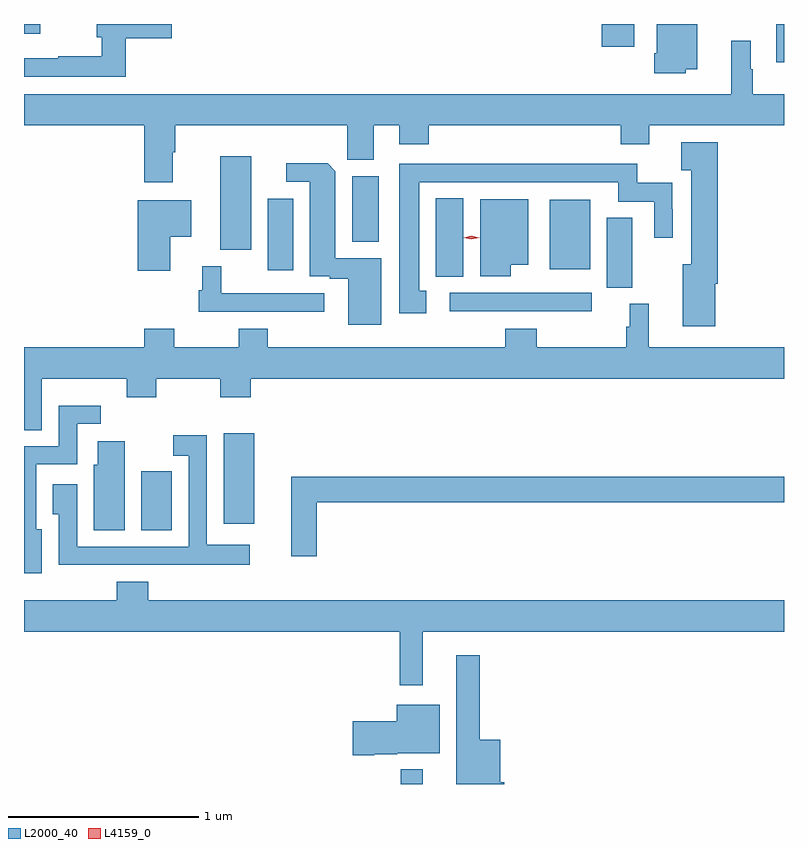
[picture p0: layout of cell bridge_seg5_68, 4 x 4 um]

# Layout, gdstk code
import gdstk
lib = gdstk.Library(unit=1e-6, precision=1e-09)
def R(c, l, rs):  # rectangles x0, y0, x1, y1
    for r in rs: c.add(gdstk.rectangle(r[:2], r[2:], *l))
def P(c, l, *ps):  # polygons
    for p in ps: c.add(gdstk.Polygon(p, *l))
L2000_40 = (2000, 40)
L4159_0 = (4159, 0)

bridge_seg5_68 = lib.new_cell('bridge_seg5_68')
R(bridge_seg5_68, L2000_40, [(263.287,909.238,263.401,909.316), (261.92,910.573,262.081,910.884), (262.355,910.608,262.516,911.083), (263.544,911.727,264.292,911.823), (264.371,911.851,264.505,912.217), (263.471,911.908,263.614,912.32), (262.586,911.943,262.72,912.319), (264.071,911.948,264.283,912.313), (262.337,912.051,262.498,912.541), (263.03,912.091,263.17,912.438), (265.262,913.038,265.303,913.238), (264.344,913.119,264.514,913.238), (261.303,913.188,261.388,913.238)])
P(bridge_seg5_68, L2000_40, [(261.839,913.162),(262.081,913.162),(262.081,913.238),(261.685,913.238),(261.685,913.169),(261.711,913.169),(261.711,913.069),(261.484,913.069),(261.484,913.057),(261.303,913.057),(261.303,912.96),(261.839,912.96)],
  [(264.786,913.001),(264.847,913.001),(264.847,913.238),(264.632,913.238),(264.632,913.084),(264.62,913.084),(264.62,912.98),(264.786,912.98)],
  [(262.087,912.563),(262.1,912.563),(262.1,912.704),(263.005,912.704),(263.005,912.523),(263.143,912.523),(263.143,912.704),(263.279,912.704),(263.279,912.605),(263.432,912.605),(263.432,912.704),(264.443,912.704),(264.443,912.605),(264.595,912.605),(264.595,912.704),(265.303,912.704),(265.303,912.868),(265.139,912.868),(265.139,913.001),(265.129,913.001),(265.129,913.15),(265.025,913.15),(265.025,912.868),(261.303,912.868),(261.303,912.704),(261.935,912.704),(261.935,912.405),(262.087,912.405)],
  [(264.94,911.87),(264.953,911.87),(264.953,912.616),(264.762,912.616),(264.762,912.468),(264.815,912.468),(264.815,911.974),(264.77,911.974),(264.77,911.648),(264.94,911.648)],
  [(263.182,912.006),(262.942,912.006),(262.942,912.464),(262.901,912.506),(262.683,912.506),(262.683,912.408),(262.808,912.408),(262.808,911.91),(262.913,911.91),(262.913,911.898),(263.009,911.898),(263.009,911.655),(263.182,911.655)],
  [(263.419,911.835),(263.383,911.835),(263.383,912.405),(264.431,912.405),(264.431,912.302),(264.621,912.302),(264.621,912.114),(264.717,912.114),(264.717,912.264),(264.714,912.264),(264.714,912.402),(264.531,912.402),(264.531,912.503),(263.279,912.503),(263.279,911.715),(263.419,911.715)],
  [(263.866,911.972),(263.956,911.972),(263.956,912.316),(263.705,912.316),(263.705,911.91),(263.866,911.91)],
  [(262.072,912.119),(262.183,912.119),(262.183,912.31),(261.902,912.31),(261.902,911.94),(262.072,911.94)],
  [(262.882,911.82),(262.341,911.82),(262.341,911.962),(262.241,911.962),(262.241,911.838),(262.222,911.838),(262.222,911.724),(262.882,911.724)],
  [(261.397,911.372),(261.844,911.372),(261.844,911.273),(261.999,911.273),(261.999,911.372),(262.336,911.372),(262.336,911.273),(262.496,911.273),(262.496,911.372),(265.303,911.372),(265.303,911.536),(264.59,911.536),(264.59,911.766),(264.491,911.766),(264.491,911.645),(264.472,911.645),(264.472,911.536),(264.002,911.536),(264.002,911.635),(263.837,911.635),(263.837,911.536),(262.587,911.536),(262.587,911.635),(262.432,911.635),(262.432,911.536),(262.095,911.536),(262.095,911.635),(261.935,911.635),(261.935,911.536),(261.303,911.536),(261.303,911.101),(261.397,911.101)],
  [(261.397,910.579),(261.367,910.579),(261.367,910.92),(261.582,910.92),(261.582,911.133),(261.706,911.133),(261.706,911.23),(261.486,911.23),(261.486,911.016),(261.303,911.016),(261.303,910.347),(261.397,910.347)],
  [(261.707,910.392),(262.073,910.392),(262.073,910.391),(262.492,910.391),(262.492,910.498),(262.266,910.498),(262.266,911.074),(262.089,911.074),(262.089,910.965),(262.17,910.965),(262.17,910.488),(261.582,910.488),(261.582,910.816),(261.455,910.816),(261.455,910.657),(261.486,910.657),(261.486,910.391),(261.707,910.391)],
  [(261.832,911.041),(261.692,911.041),(261.692,910.917),(261.671,910.917),(261.671,910.573),(261.832,910.573)],
  [(262.844,910.72),(265.303,910.72),(265.303,910.856),(262.709,910.856),(262.709,910.437),(262.844,910.437)],
  [(263.401,910.04),(265.303,910.04),(265.303,910.204),(261.956,910.204),(261.956,910.303),(261.791,910.303),(261.791,910.204),(261.303,910.204),(261.303,910.04),(263.28,910.04),(263.28,909.759),(263.401,909.759)],
  [(263.83,909.246),(263.809,909.246),(263.809,909.472),(263.701,909.472),(263.701,909.916),(263.579,909.916),(263.579,909.238),(263.83,909.238)],
  [(263.146,909.395),(263.268,909.395),(263.268,909.401),(263.491,909.401),(263.491,909.655),(263.264,909.655),(263.264,909.567),(263.034,909.567),(263.034,909.389),(263.146,909.389)])
P(bridge_seg5_68, L4159_0, [(263.658,912.104),(263.618,912.114),(263.618,912.114),(263.618,912.114),(263.658,912.124),(263.698,912.114),(263.698,912.114),(263.698,912.114)])

lib.write_gds('bridge_seg5_68.gds')
